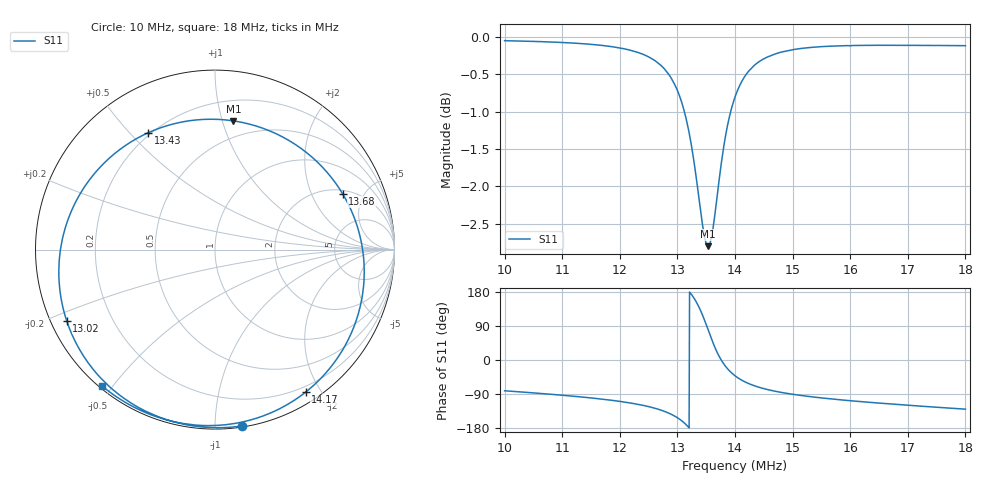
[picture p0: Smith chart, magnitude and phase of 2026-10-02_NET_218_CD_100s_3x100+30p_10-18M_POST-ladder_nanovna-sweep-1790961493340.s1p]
! NanoVNA Web complex sweep
! Processing: unaveraged complex samples; linear segment spacing; no smoothing
# Hz S RI R 50
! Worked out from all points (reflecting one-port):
!   1010 points, 10 MHz to 18 MHz, reference 50 ohm
!   lowest |S11| = -2.8 dB at 13.53 MHz (marker M1), VSWR 6.26, Z = 18 + j54.4 ohm
!   phase of S11 starts at -81 deg and turns -409 deg over the sweep
!   S11 on the Smith chart (normalised r, x): 10 MHz: 0.01, -1.17; 13.02 MHz: 0.05, -0.23; 13.43 MHz: 0.19, +0.56; 13.68 MHz: 2.20, +3.45; 14.17 MHz: 0.13, -1.81; 18 MHz: 0.01, -0.47
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1e7  0.1519 -0.9824
1.100698e7  -0.0525 -0.9898
1.200604e7  -0.3256 -0.9274
1.236284e7  -0.4641 -0.8573
1.263243e7  -0.5968 -0.7553
1.283858e7  -0.718 -0.6147
1.300509e7  -0.8178 -0.4204
1.302095e7  -0.8266 -0.3961
1.316367e7  -0.8701 -0.1142
1.326675e7  -0.8179 0.17
1.335397e7  -0.6552 0.4426
1.343326e7  -0.372 0.6511
1.348083e7  -0.1448 0.7177
1.35284e7  0.103 0.7171
1.359184e7  0.4144 0.6064
1.363941e7  0.5994 0.4582
1.367906e7  0.7107 0.3114
1.374249e7  0.8094 0.068
1.380592e7  0.8309 -0.154
1.390107e7  0.7792 -0.4163
1.400414e7  0.6775 -0.6112
1.417065e7  0.5048 -0.7941
1.431338e7  0.3771 -0.8777
1.448781e7  0.2493 -0.9334
1.50032e7  -0.00878 -0.9803
1.600225e7  -0.2949 -0.941
1.700131e7  -0.4843 -0.8599
1.800036e7  -0.6304 -0.7587
